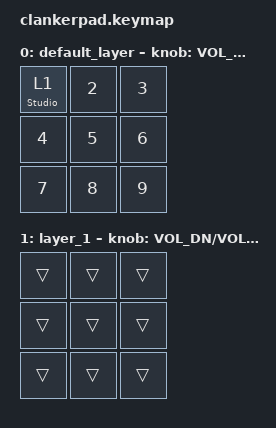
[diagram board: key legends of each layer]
#include <behaviors.dtsi>
#include <dt-bindings/zmk/keys.h>

/ {
    behaviors {
        enc_btn: enc_btn {
            compatible = "zmk,behavior-hold-tap";
            #binding-cells = <2>;
            tapping-term-ms = <200>;
            bindings = <&studio_unlock>, <&tog>;
        };
    };

    keymap {
        compatible = "zmk,keymap";

        default_layer {
            bindings = <
                &kp N2  &kp N3
                &kp N4  &kp N5  &kp N6
                &kp N7  &kp N8  &kp N9
                &enc_btn 0 1
            >;
            sensor-bindings = <&inc_dec_kp C_VOL_DN C_VOL_UP>;
        };

        layer_1 {
            bindings = <
                &trans  &trans
                &trans  &trans  &trans
                &trans  &trans  &trans
                &trans
            >;
            sensor-bindings = <&inc_dec_kp C_VOL_DN C_VOL_UP>;
        };
    };
};
